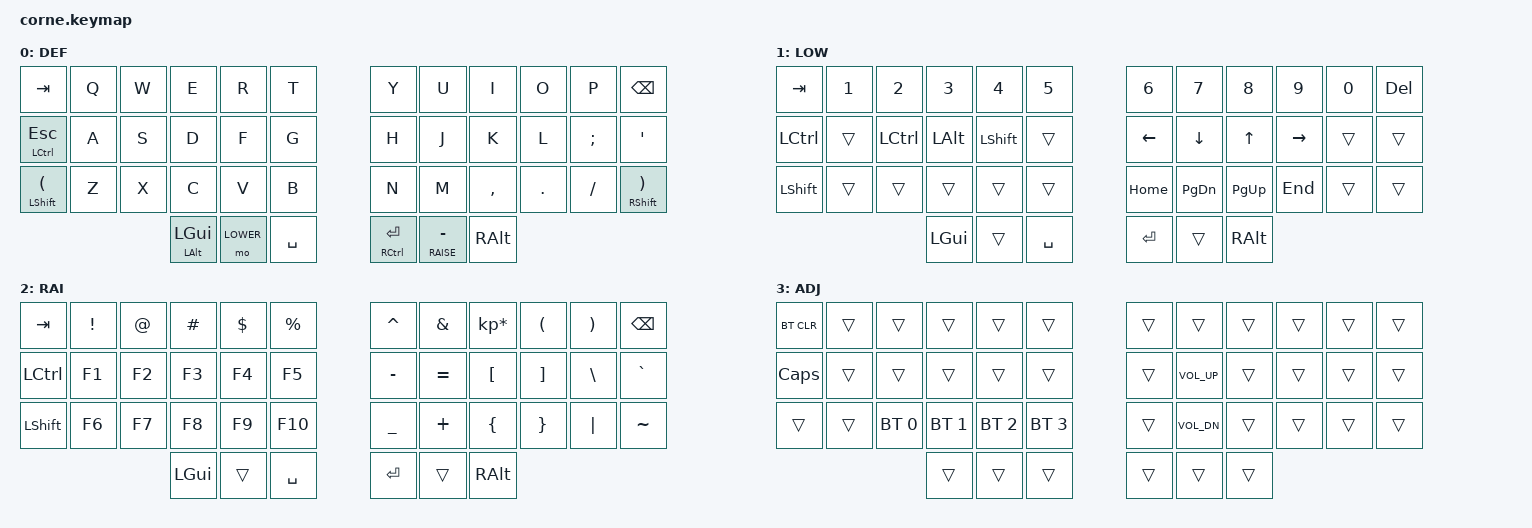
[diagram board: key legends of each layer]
/*
 * Copyright (c) 2020 The ZMK Contributors
 *
 * SPDX-License-Identifier: MIT
 */

#define DEFAULT 0
#define LOWER   1
#define RAISE   2
#define ADJUST  3

#include <behaviors.dtsi>
#include <dt-bindings/zmk/keys.h>
#include <dt-bindings/zmk/bt.h>

&mt {
    tapping-term-ms = <130>;
};


/ {

    conditional_layers {
        compatible = "zmk,conditional-layers";
        tri_layer {
            if-layers = <LOWER RAISE>;
            then-layer = <ADJUST>;
        };
    };

        keymap {
                compatible = "zmk,keymap";

// -----------------------------------------------------------------------------------------
// |  TAB |  Q  |  W  |  E  |  R  |  T  |   |  Y  |  U   |  I  |  O  |  P  | BKSP |
// | LCTRL(ESC) |  A  |  S  |  D  |  F  |  G  |   |  H  |  J   |  K  |  L  |  ;  |  '   |
// | LSHFT('(') |  Z  |  X  |  C  |  V  |  B  |   |  N  |  M   |  ,  |  .  |  /  | RSHFT(')')  |
//                    | GUI | LWR | SPC |   | RCTRL(ENT) | RSE(-)  | ALT |
                default_layer {
                label = "DEF";
                        bindings = <
   &kp TAB        &kp Q &kp W &kp E &kp R &kp T   &kp Y &kp U  &kp I     &kp O   &kp P    &kp BACKSPACE
   &mt LCTRL ESC  &kp A &kp S &kp D &kp F &kp G   &kp H &kp J  &kp K     &kp L   &kp SEMI &kp SINGLE_QUOTE
   &mt LEFT_SHIFT LEFT_PARENTHESIS &kp Z &kp X &kp C &kp V &kp B   &kp N &kp M  &kp COMMA &kp DOT &kp FSLH &mt RIGHT_SHIFT RIGHT_PARENTHESIS
                  &mt LEFT_ALT LEFT_GUI &mo LOWER &kp SPACE   &mt RCTRL RET &lt RAISE MINUS &kp RALT
                        >;
                };

// -----------------------------------------------------------------------------------------
// |  TAB |  1  |  2  |  3  |  4  |  5  |   |  6  |  7  |  8  |  9  |  0  | DELETE |
// | LCTRL|     |LCTRL| LALT|LSHFT|     |   | LFT | DWN |  UP | RGT |     |      |
// | SHFT |BTCLR| BT1 | BT2 | BT3 | BT4 |   | HOME|PDOWN|PUP  |END  |     |      |
//                    | GUI |     | SPC |   | ENT |     | ALT |

                lower_layer {
                label = "LOW";
                        bindings = <
   &kp TAB    &kp N1       &kp N2       &kp N3       &kp N4       &kp N5         &kp N6   &kp N7   &kp N8 &kp N9    &kp N0 &kp DELETE
   &kp LCTRL  &trans       &kp LCTRL    &kp LALT     &kp LSHFT    &trans         &kp LEFT &kp DOWN &kp UP &kp RIGHT &trans &trans
   &kp LSHFT  &trans       &trans       &trans       &trans &trans     &kp HOME   &kp PG_DN   &kp PG_UP &kp END &trans &trans
                          	        &kp LGUI     &trans       &kp SPACE      &kp RET  &trans   &kp RALT
                        >;
                };

// -----------------------------------------------------------------------------------------
// |  TAB |  !  |  @  |  #  |  $  |  %  |   |  ^  |  &  |  *  |  (  |  )  | BKSP |
// | CTRL | F1  | F2  |  F3 |  F4 |  F5 |   |  -  |  =  |  [  |  ]  |  \  |  `   |
// | SHFT | F6  | F7  |  F8 |  F9 | F10 |   |  _  |  +  |  {  |  }  | "|" |  ~   |
//                    | GUI |     | SPC |   | ENT |     | ALT |

                raise_layer {
                label = "RAI";
                        bindings = <
   &kp  TAB  &kp EXCL &kp AT &kp HASH &kp DLLR &kp PRCNT   &kp CARET &kp AMPS  &kp KP_MULTIPLY &kp LPAR &kp RPAR &kp BSPC
   &kp LCTRL &kp F1   &kp F2 &kp F3   &kp F4   &kp F5      &kp MINUS &kp EQUAL &kp LBKT        &kp RBKT &kp BSLH &kp GRAVE
   &kp LSHFT &kp F6   &kp F7 &kp F8   &kp F9   &kp F10     &kp UNDER &kp PLUS  &kp LBRC        &kp RBRC &kp PIPE &kp TILDE
                    	     &kp LGUI &trans   &kp SPACE   &kp RET   &trans    &kp RALT
                        >;
                };

// -----------------------------------------------------------------------------------------
// |   |    |    |    |    |    |   |    |    |    |    |    |    |
// |   |    |    |    |    |    |   |    |    |    |    |    |    |
// |   |    |    |    |    |    |   |    |    |    |    |    |    |
//                    |    |    |   |    |    |    |    |

                adjust_layer {
                label = "ADJ";
                        bindings = <
   &bt BT_CLR      &trans &trans       &trans       &trans       &trans             &trans &trans        &trans &trans &trans &trans
   &kp CAPSLOCK    &trans &trans       &trans       &trans       &trans             &trans &kp K_VOL_UP  &trans &trans &trans &trans
   &trans          &trans &bt BT_SEL 0 &bt BT_SEL 1 &bt BT_SEL 2 &bt BT_SEL 3       &trans &kp K_VOL_DN  &trans &trans &trans &trans
                    	                 &trans       &trans       &trans             &trans &trans        &trans
                        >;
                };
        };
};

